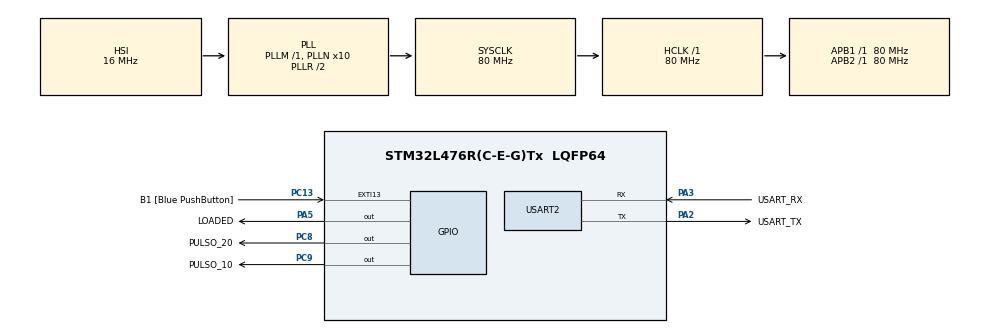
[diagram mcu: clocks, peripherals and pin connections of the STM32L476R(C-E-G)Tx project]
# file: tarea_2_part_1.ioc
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FREERTOS.Tasks01=defaultTask,24,128,StartDefaultTask,Default,NULL,Dynamic,NULL,NULL;pulso_10,8,128,StartPulso10,Default,NULL,Dynamic,NULL,NULL;pulso_20,8,128,StartPulso20,Default,NULL,Dynamic,NULL,NULL;artificialLoad,48,128,StartArtificialLoad,Default,NULL,Dynamic,NULL,NULL
FREERTOS.configUSE_NEWLIB_REENTRANT=1
Mcu.Family=STM32L4
Mcu.Name=STM32L476R(C-E-G)Tx
Mcu.Package=LQFP64
NVIC.PriorityGroup=NVIC_PRIORITYGROUP_4
NVIC.TIM1_UP_TIM16_IRQn=true\:15\:0\:false\:false\:true\:false\:false\:true\:true
NVIC.TimeBase=TIM1_UP_TIM16_IRQn
NVIC.TimeBaseIP=TIM1
PA13\ (JTMS-SWDIO).GPIO_Label=TMS
PA13\ (JTMS-SWDIO).Mode=Serial_Wire
PA13\ (JTMS-SWDIO).Signal=SYS_JTMS-SWDIO
PA14\ (JTCK-SWCLK).GPIO_Label=TCK
PA14\ (JTCK-SWCLK).Mode=Serial_Wire
PA14\ (JTCK-SWCLK).Signal=SYS_JTCK-SWCLK
PA2.GPIO_Label=USART_TX
PA2.GPIO_Mode=GPIO_MODE_AF_PP
PA2.GPIO_PuPd=GPIO_NOPULL
PA2.GPIO_Speed=GPIO_SPEED_FREQ_VERY_HIGH
PA2.Mode=Asynchronous
PA2.Signal=USART2_TX
PA3.GPIO_Label=USART_RX
PA3.GPIO_Mode=GPIO_MODE_AF_PP
PA3.GPIO_PuPd=GPIO_NOPULL
PA3.GPIO_Speed=GPIO_SPEED_FREQ_VERY_HIGH
PA3.Mode=Asynchronous
PA3.Signal=USART2_RX
PA5.GPIO_Label=LOADED
PA5.GPIO_ModeDefaultOutputPP=GPIO_MODE_OUTPUT_PP
PA5.GPIO_PuPd=GPIO_NOPULL
PA5.GPIO_Speed=GPIO_SPEED_FREQ_LOW
PA5.Signal=GPIO_Output
PB3\ (JTDO-TRACESWO).GPIO_Label=SWO
PB3\ (JTDO-TRACESWO).Signal=SYS_JTDO-SWO
PC13.GPIO_Label=B1 [Blue PushButton]
PC13.GPIO_ModeDefaultEXTI=GPIO_MODE_IT_FALLING
PC13.GPIO_PuPd=GPIO_NOPULL
PC13.Signal=GPXTI13
PC14-OSC32_IN\ (PC14).Mode=LSE-External-Oscillator
PC14-OSC32_IN\ (PC14).Signal=RCC_OSC32_IN
PC15-OSC32_OUT\ (PC15).Mode=LSE-External-Oscillator
PC15-OSC32_OUT\ (PC15).Signal=RCC_OSC32_OUT
PC8.GPIO_Label=PULSO_20
PC8.Signal=GPIO_Output
PC9.GPIO_Label=PULSO_10
PC9.Signal=GPIO_Output
PH0-OSC_IN\ (PH0).Signal=RCC_OSC_IN
PH1-OSC_OUT\ (PH1).Signal=RCC_OSC_OUT
ProjectManager.HeapSize=0x200
ProjectManager.StackSize=0x400
ProjectManager.TargetToolchain=STM32CubeIDE
RCC.ADCFreq_Value=64000000
RCC.AHBFreq_Value=80000000
RCC.APB1Freq_Value=80000000
RCC.APB1TimFreq_Value=80000000
RCC.APB2Freq_Value=80000000
RCC.APB2TimFreq_Value=80000000
RCC.CortexFreq_Value=80000000
RCC.HCLKFreq_Value=80000000
RCC.HSE_VALUE=8000000
RCC.HSI_VALUE=16000000
RCC.MSI_VALUE=4000000
RCC.PLLN=10
RCC.PLLSourceVirtual=RCC_PLLSOURCE_HSI
RCC.PREFETCH_ENABLE=1
RCC.SYSCLKFreq_VALUE=80000000
RCC.SYSCLKSource=RCC_SYSCLKSOURCE_PLLCLK
RCC.USBFreq_Value=64000000
RCC.VCOOutputFreq_Value=160000000
USART2.VirtualMode-Asynchronous=VM_ASYNC
VP_FREERTOS_VS_CMSIS_V2.Mode=CMSIS_V2
VP_SYS_VS_tim1.Mode=TIM1
board=NUCLEO-L476RG

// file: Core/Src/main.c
/* USER CODE BEGIN Header */
/**
  ******************************************************************************
  * @file           : main.c
  * @brief          : Main program body
  ******************************************************************************
  * @attention
  *
  * Copyright (c) 2026 STMicroelectronics.
  * All rights reserved.
  *
  * This software is licensed under terms that can be found in the LICENSE file
  * in the root directory of this software component.
  * If no LICENSE file comes with this software, it is provided AS-IS.
  *
  ******************************************************************************
  */
/* USER CODE END Header */
#include "main.h"
#include "cmsis_os.h"

UART_HandleTypeDef huart2;

/* Definitions for defaultTask */
osThreadId_t defaultTaskHandle;
const osThreadAttr_t defaultTask_attributes = {
  .name = "defaultTask",
  .stack_size = 128 * 4,
  .priority = (osPriority_t) osPriorityNormal,
};
/* Definitions for pulso_10 */
osThreadId_t pulso_10Handle;
const osThreadAttr_t pulso_10_attributes = {
  .name = "pulso_10",
  .stack_size = 128 * 4,
  .priority = (osPriority_t) osPriorityLow,
};
/* Definitions for pulso_20 */
osThreadId_t pulso_20Handle;
const osThreadAttr_t pulso_20_attributes = {
  .name = "pulso_20",
  .stack_size = 128 * 4,
  .priority = (osPriority_t) osPriorityLow,
};
/* Definitions for artificialLoad */
osThreadId_t artificialLoadHandle;
const osThreadAttr_t artificialLoad_attributes = {
  .name = "artificialLoad",
  .stack_size = 128 * 4,
  .priority = (osPriority_t) osPriorityRealtime,
};
/* USER CODE BEGIN PV */

volatile uint32_t carga = 0;
volatile uint32_t periodo_carga = 50;

/* USER CODE END PV */

void SystemClock_Config(void);
static void MX_GPIO_Init(void);
static void MX_USART2_UART_Init(void);
void StartDefaultTask(void *argument);
void StartPulso10(void *argument);
void StartPulso20(void *argument);
void StartArtificialLoad(void *argument);

int main(void)
{

  /* MCU Configuration--------------------------------------------------------*/

  /* Reset of all peripherals, Initializes the Flash interface and the Systick. */
  HAL_Init();

  /* Configure the system clock */
  SystemClock_Config();

  /* Initialize all configured peripherals */
  MX_GPIO_Init();
  MX_USART2_UART_Init();

  /* Init scheduler */
  osKernelInitialize();

  /* Create the thread(s) */
  /* creation of defaultTask */
  defaultTaskHandle = osThreadNew(StartDefaultTask, NULL, &defaultTask_attributes);

  /* creation of pulso_10 */
  pulso_10Handle = osThreadNew(StartPulso10, NULL, &pulso_10_attributes);

  /* creation of pulso_20 */
  pulso_20Handle = osThreadNew(StartPulso20, NULL, &pulso_20_attributes);

  /* creation of artificialLoad */
  artificialLoadHandle = osThreadNew(StartArtificialLoad, NULL, &artificialLoad_attributes);

  /* Start scheduler */
  osKernelStart();

  /* We should never get here as control is now taken by the scheduler */

  /* Infinite loop */
  while (1)
  {

  }
}

void SystemClock_Config(void)
{
  RCC_OscInitTypeDef RCC_OscInitStruct = {0};
  RCC_ClkInitTypeDef RCC_ClkInitStruct = {0};

  /** Configure the main internal regulator output voltage
  */
  if (HAL_PWREx_ControlVoltageScaling(PWR_REGULATOR_VOLTAGE_SCALE1) != HAL_OK)
  {
    Error_Handler();
  }

  /** Initializes the RCC Oscillators according to the specified parameters
  * in the RCC_OscInitTypeDef structure.
  */
  RCC_OscInitStruct.OscillatorType = RCC_OSCILLATORTYPE_HSI;
  RCC_OscInitStruct.HSIState = RCC_HSI_ON;
  RCC_OscInitStruct.HSICalibrationValue = RCC_HSICALIBRATION_DEFAULT;
  RCC_OscInitStruct.PLL.PLLState = RCC_PLL_ON;
  RCC_OscInitStruct.PLL.PLLSource = RCC_PLLSOURCE_HSI;
  RCC_OscInitStruct.PLL.PLLM = 1;
  RCC_OscInitStruct.PLL.PLLN = 10;
  RCC_OscInitStruct.PLL.PLLP = RCC_PLLP_DIV7;
  RCC_OscInitStruct.PLL.PLLQ = RCC_PLLQ_DIV2;
  RCC_OscInitStruct.PLL.PLLR = RCC_PLLR_DIV2;
  if (HAL_RCC_OscConfig(&RCC_OscInitStruct) != HAL_OK)
  {
    Error_Handler();
  }

  /** Initializes the CPU, AHB and APB buses clocks
  */
  RCC_ClkInitStruct.ClockType = RCC_CLOCKTYPE_HCLK|RCC_CLOCKTYPE_SYSCLK
                              |RCC_CLOCKTYPE_PCLK1|RCC_CLOCKTYPE_PCLK2;
  RCC_ClkInitStruct.SYSCLKSource = RCC_SYSCLKSOURCE_PLLCLK;
  RCC_ClkInitStruct.AHBCLKDivider = RCC_SYSCLK_DIV1;
  RCC_ClkInitStruct.APB1CLKDivider = RCC_HCLK_DIV1;
  RCC_ClkInitStruct.APB2CLKDivider = RCC_HCLK_DIV1;

  if (HAL_RCC_ClockConfig(&RCC_ClkInitStruct, FLASH_LATENCY_4) != HAL_OK)
  {
    Error_Handler();
  }
}

static void MX_USART2_UART_Init(void)
{

  huart2.Instance = USART2;
  huart2.Init.BaudRate = 115200;
  huart2.Init.WordLength = UART_WORDLENGTH_8B;
  huart2.Init.StopBits = UART_STOPBITS_1;
  huart2.Init.Parity = UART_PARITY_NONE;
  huart2.Init.Mode = UART_MODE_TX_RX;
  huart2.Init.HwFlowCtl = UART_HWCONTROL_NONE;
  huart2.Init.OverSampling = UART_OVERSAMPLING_16;
  huart2.Init.OneBitSampling = UART_ONE_BIT_SAMPLE_DISABLE;
  huart2.AdvancedInit.AdvFeatureInit = UART_ADVFEATURE_NO_INIT;
  if (HAL_UART_Init(&huart2) != HAL_OK)
  {
    Error_Handler();
  }

}

static void MX_GPIO_Init(void)
{
  GPIO_InitTypeDef GPIO_InitStruct = {0};

  /* GPIO Ports Clock Enable */
  __HAL_RCC_GPIOC_CLK_ENABLE();
  __HAL_RCC_GPIOH_CLK_ENABLE();
  __HAL_RCC_GPIOA_CLK_ENABLE();
  __HAL_RCC_GPIOB_CLK_ENABLE();

  /*Configure GPIO pin Output Level */
  HAL_GPIO_WritePin(LOADED_GPIO_Port, LOADED_Pin, GPIO_PIN_RESET);

  /*Configure GPIO pin Output Level */
  HAL_GPIO_WritePin(GPIOC, PULSO_20_Pin|PULSO_10_Pin, GPIO_PIN_RESET);

  /*Configure GPIO pin : B1_Pin */
  GPIO_InitStruct.Pin = B1_Pin;
  GPIO_InitStruct.Mode = GPIO_MODE_IT_FALLING;
  GPIO_InitStruct.Pull = GPIO_NOPULL;
  HAL_GPIO_Init(B1_GPIO_Port, &GPIO_InitStruct);

  /*Configure GPIO pin : LOADED_Pin */
  GPIO_InitStruct.Pin = LOADED_Pin;
  GPIO_InitStruct.Mode = GPIO_MODE_OUTPUT_PP;
  GPIO_InitStruct.Pull = GPIO_NOPULL;
  GPIO_InitStruct.Speed = GPIO_SPEED_FREQ_LOW;
  HAL_GPIO_Init(LOADED_GPIO_Port, &GPIO_InitStruct);

  /*Configure GPIO pins : PULSO_20_Pin PULSO_10_Pin */
  GPIO_InitStruct.Pin = PULSO_20_Pin|PULSO_10_Pin;
  GPIO_InitStruct.Mode = GPIO_MODE_OUTPUT_PP;
  GPIO_InitStruct.Pull = GPIO_NOPULL;
  GPIO_InitStruct.Speed = GPIO_SPEED_FREQ_LOW;
  HAL_GPIO_Init(GPIOC, &GPIO_InitStruct);

}

void StartDefaultTask(void *argument)
{
  for(;;)
  {
    osDelay(1);
  }
}

/* USER CODE BEGIN Header_StartPulso10 */
/**
* @brief Función que genera pulso de 10ms cada 100ms
* @param argument: Not used
* @retval None
*/
/* USER CODE END Header_StartPulso10 */
void StartPulso10(void *argument)
{
  /* USER CODE BEGIN StartPulso10 */
	TickType_t UltimoCambio;
	UltimoCambio = xTaskGetTickCount();
  /* Infinite loop */
  for(;;)
  {
	//Se alza el pin
	HAL_GPIO_WritePin(PULSO_10_GPIO_Port, PULSO_10_Pin, GPIO_PIN_SET);
	vTaskDelayUntil(&UltimoCambio,pdMS_TO_TICKS(10));
	//Se baja el pin
	HAL_GPIO_WritePin(PULSO_10_GPIO_Port, PULSO_10_Pin, GPIO_PIN_RESET);
	vTaskDelayUntil(&UltimoCambio,pdMS_TO_TICKS(90));
  }
  /* USER CODE END StartPulso10 */
}

/* USER CODE BEGIN Header_StartPulso20 */
/**
* @brief Función que genera pulso de 20ms cada 200ms
* @param argument: Not used
* @retval None
*/
/* USER CODE END Header_StartPulso20 */
void StartPulso20(void *argument)
{
  /* USER CODE BEGIN StartPulso20 */
	TickType_t UltimoCambio;
	UltimoCambio = xTaskGetTickCount();

  /* Infinite loop */
  for(;;)
  {
	//Se alza el pin
	HAL_GPIO_WritePin(PULSO_20_GPIO_Port, PULSO_20_Pin, GPIO_PIN_SET);
	vTaskDelayUntil(&UltimoCambio,pdMS_TO_TICKS(20));
	//Se baja el pin
	HAL_GPIO_WritePin(PULSO_20_GPIO_Port, PULSO_20_Pin, GPIO_PIN_RESET);
	vTaskDelayUntil(&UltimoCambio,pdMS_TO_TICKS(180));
  }
  /* USER CODE END StartPulso20 */
}

void StartArtificialLoad(void *argument)
{
  /* USER CODE BEGIN StartArtificialLoad */
	volatile uint32_t i = 0;
	TickType_t UltimoCambio = xTaskGetTickCount();
  /* Infinite loop */
  for(;;)
  {
	  HAL_GPIO_WritePin(LOADED_GPIO_Port, LOADED_Pin, GPIO_PIN_SET);
	  for(i = 0;i<carga;i++)
	  {

	  }
	  HAL_GPIO_WritePin(LOADED_GPIO_Port, LOADED_Pin, GPIO_PIN_RESET);
	  vTaskDelayUntil(&UltimoCambio,pdMS_TO_TICKS(periodo_carga));
  }
  /* USER CODE END StartArtificialLoad */
}

void HAL_TIM_PeriodElapsedCallback(TIM_HandleTypeDef *htim)
{
  if (htim->Instance == TIM1)
  {
    HAL_IncTick();
  }
}

void Error_Handler(void)
{
  __disable_irq();
  while (1)
  {
  }
}
